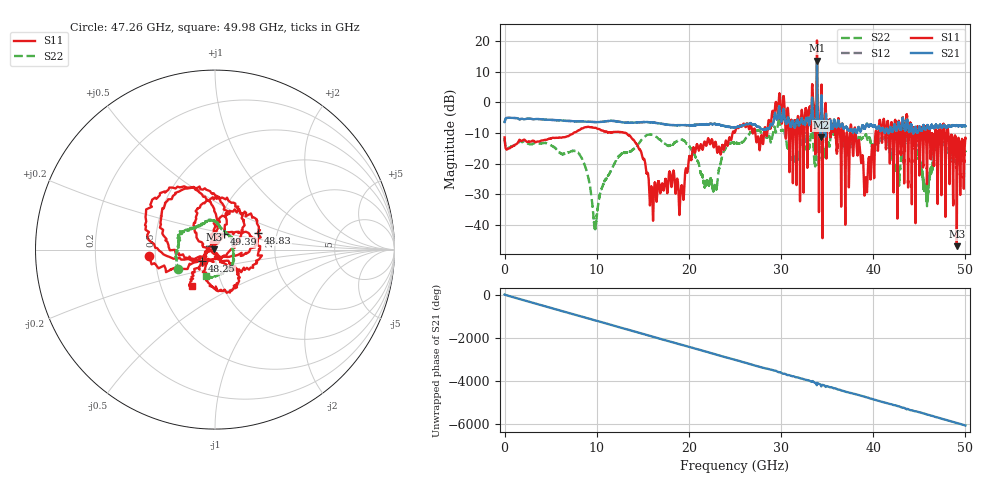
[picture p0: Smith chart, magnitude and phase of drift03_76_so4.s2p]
!Created with skrf (http://scikit-rf.org).
# Hz S RI R 50.0
!freq ReS11 ImS11 ReS21 ImS21 ReS12 ImS12 ReS22 ImS22
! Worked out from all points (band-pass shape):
!   10001 points, 300 kHz to 50 GHz, reference 50 ohm
!   highest |S21| = 13.61 dB at 33.9 GHz (marker M1); lowest = -11.4 dB at 34.32 GHz (marker M2)
!   |S21| within 3 dB of the highest: 33.89006 GHz to 33.9049 GHz (14.84 MHz wide, 0.0438 % of centre)
!   lowest |S11| = -47.0 dB at 49.07 GHz (marker M3), VSWR 1.01, Z = 49.6 + j0.266 ohm
!   |S11| at or under -10 dB: start of sweep to 7.486 GHz; 13.13 GHz to 24.74 GHz (11.61 GHz wide, 61.3 % of centre); 38.09 GHz to 40.25 GHz (2.153 GHz wide, 5.5 % of centre) (the widest 3 of 46)
!   |S22| runs from -41.5 to 6.1 dB; largest |S21 - S12| = 0.36
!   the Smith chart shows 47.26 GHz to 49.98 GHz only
!   S11 on the Smith chart (normalised r, x): 47.26 GHz: 0.46, -0.04; 48.25 GHz: 0.86, -0.11; 48.83 GHz: 1.59, +0.32; 49.39 GHz: 1.09, +0.19; 49.98 GHz: 0.71, -0.31
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300000  -0.237 -0.1254  0.4669 0.0814  0.4647 0.0814  -0.2338 -0.1251
1.440291e9  0.2102 0.065  -0.5483 -0.0297  -0.5483 -0.0294  0.2117 -0.00381
2.915283e9  -0.2119 -0.0881  0.5339 0.0521  0.5345 0.0518  -0.2019 0.0401
4.415274e9  0.206 0.1327  -0.5223 -0.0424  -0.5221 -0.0426  0.199 -0.0872
8.33525e9  0.2891 -0.2335  0.1456 0.4669  0.1452 0.467  -0.0726 -0.1018
9.840241e9  -0.3651 0.1248  -0.1426 -0.4542  -0.1425 -0.4544  0.00866 0.00182
1.66702e10  0.0266 0.043  -0.3789 0.2528  -0.3795 0.2525  -0.1288 -0.221
2.500015e10  -0.327 -0.0151  -0.2543 -0.2979  -0.2528 -0.3003  -0.2133 0.0259
2.895513e10  -0.326 0.4339  -0.2903 0.326  -0.3004 0.2891  0.0648 0.2221
3.006512e10  0.4011 0.2694  0.4513 -0.1949  0.4563 -0.181  0.1786 -0.2964
3.171011e10  -0.0915 0.1879  -0.363 0.3558  -0.3675 0.3555  0.0664 0.1598
3.33351e10  0.6572 -0.8451  0.2542 -0.8639  0.2571 -0.8418  -0.1939 -0.4293
3.38951e10  -2.613 -9.91  -4.713 0.8521  -4.4 1.04  0.5246 1.94
3.432009e10  -0.7765 -0.000132  -0.1831 0.1981  -0.2448 0.1784  0.1437 -0.0749
4.167005e10  -0.2052 0.301  0.3156 0.00364  0.3162 0.00926  -0.1904 -0.00792
4.725502e10  -0.3661 -0.0346  0.3007 0.2992  0.3047 0.3009  -0.2078 -0.1104
4.825001e10  -0.0717 -0.0639  0.1025 -0.3976  0.1042 -0.3976  -0.0135 0.165
4.883001e10  0.2387 0.0945  -0.3566 -0.2123  -0.3578 -0.2135  0.1001 0.0559
4.906501e10  -0.00359 0.00268  -0.4219 -0.0289  -0.4215 -0.0309  0.0963 0.0161
4.939e10  0.0506 0.0869  -0.3427 0.24  -0.3416 0.2378  0.1008 -0.0622
4.998e10  -0.1293 -0.2048  0.1174 0.3939  0.1189 0.3944  -0.0497 -0.1484
5e10  -0.1197 -0.229  0.1399 0.3847  0.141 0.3842  -0.0531 -0.1452
